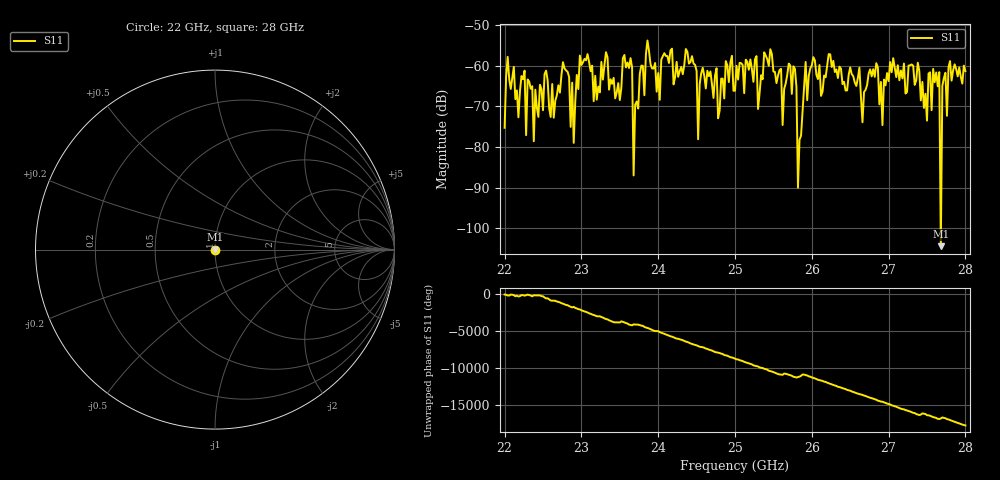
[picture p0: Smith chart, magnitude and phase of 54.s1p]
#  HZ  S  RI  R  50.00
! Rohde & Schwarz ZVA40 4Ports - Version 3.90 - 1145.1110k42 SN: 100403
! Date: 2023-10-04 06:37:53
! Measurement: S12
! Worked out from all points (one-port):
!   301 points, 22 GHz to 28 GHz, reference 50 ohm
!   lowest |S11| = -104.4 dB at 27.68 GHz (marker M1), VSWR 1.00, Z = 50 + j0.000235 ohm
!   |S11| at or under -10 dB: start of sweep to end of sweep
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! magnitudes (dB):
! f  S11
! 22 GHz  -75.3
! 22.04 GHz  -57.8
! 22.38 GHz  -78.6
! 22.76 GHz  -59.1
! 22.9 GHz  -79.0
! 22.98 GHz  -57.5
! 23.5 GHz  -68.5
! 23.64 GHz  -58.2
! 23.68 GHz  -87.0
! 23.86 GHz  -53.8
! 24.26 GHz  -62.8
! 24.48 GHz  -59.8
! 24.52 GHz  -78.1
! 24.58 GHz  -60.5
! 25 GHz  -66.2
! 25.46 GHz  -56.0
! 25.62 GHz  -74.6
! 25.76 GHz  -60.2
! 25.82 GHz  -90.0
! 25.92 GHz  -59.1
! 26.5 GHz  -60.4
! 26.92 GHz  -74.6
! 27.26 GHz  -60.0
! 27.5 GHz  -73.5
! 27.66 GHz  -61.6
! 27.68 GHz  -104.4
! 27.74 GHz  -61.8
! 28 GHz  -61.3
